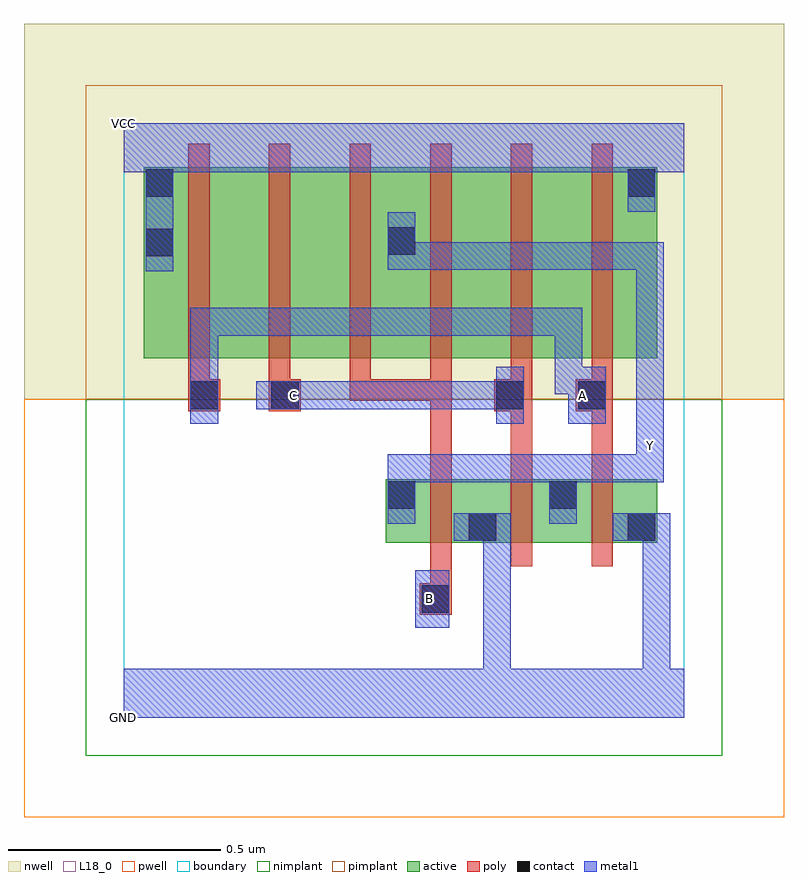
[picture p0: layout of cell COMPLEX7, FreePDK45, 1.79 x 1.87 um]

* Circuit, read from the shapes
.subckt COMPLEX7 A B C GND VCC Y
M1 GND B Y VSUBS nfet w=0.15u l=0.05u
M2 Y C GND VSUBS nfet w=0.15u l=0.05u
M3 GND A Y VSUBS nfet w=0.15u l=0.05u
M4 n1 A VCC n2 pfet w=0.45u l=0.05u
M5 n3 C n1 n2 pfet w=0.45u l=0.05u
M6 Y B n3 n2 pfet w=0.45u l=0.05u
M7 n4 B Y n2 pfet w=0.45u l=0.05u
M8 n5 C n4 n2 pfet w=0.45u l=0.05u
M9 VCC A n5 n2 pfet w=0.45u l=0.05u
.ends

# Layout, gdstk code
import gdstk
lib = gdstk.Library(unit=1e-6, precision=1e-09)
def R(c, l, rs):  # rectangles x0, y0, x1, y1
    for r in rs: c.add(gdstk.rectangle(r[:2], r[2:], *l))
def A(c, l, x, y, w, h, nx, ny, dx, dy):  # array of equal rectangles
    R(c, l, [(x+i*dx, y+j*dy, x+i*dx+w, y+j*dy+h) for i in range(nx) for j in range(ny)])
active = (1, 0)
pwell = (2, 0)
nwell = (3, 0)
nimplant = (4, 0)
pimplant = (5, 0)
poly = (9, 0)
contact = (10, 0)
metal1 = (11, 0)
L18_0 = (18, 0)
boundary = (235, 0)

complex7 = lib.new_cell('COMPLEX7')
R(complex7, active, [(0.617,0.412,0.692,0.562), (0.617,0.412,0.882,0.562), (0.807,0.412,1.072,0.562), (0.807,0.412,0.882,0.487), (0.997,0.412,1.072,0.562), (0.997,0.412,1.257,0.562), (1.182,0.412,1.257,0.562), (0.047,0.847,0.122,1.297), (0.047,0.847,0.272,1.297), (0.272,0.847,0.462,1.297), (0.462,0.847,0.692,1.297), (0.617,0.847,0.842,1.297), (0.617,0.847,0.692,1.2), (0.842,0.847,1.032,1.297), (1.032,0.847,1.257,1.297), (1.182,0.847,1.257,1.297)])
R(complex7, pwell, [(-0.235,-0.235,1.555,0.75)])
R(complex7, nwell, [(-0.235,0.75,1.555,1.635)])
R(complex7, nimplant, [(-0.09,-0.09,1.41,0.75)])
R(complex7, pimplant, [(-0.09,0.75,1.41,1.49)])
A(complex7, poly, 0.722, 0.357, 0.05, 0.26, 3, 1, 0.19, 0)
A(complex7, poly, 0.152, 0.747, 0.05, 0.095, 6, 1, 0.19, 0)
A(complex7, poly, 0.152, 0.792, 0.05, 0.56, 6, 1, 0.19, 0)
R(complex7, poly, [(0.697,0.242,0.772,0.317), (0.722,0.267,0.772,0.407), (0.722,0.567,0.772,0.797), (0.912,0.567,0.962,0.772), (1.102,0.567,1.152,0.772), (0.152,0.722,0.227,0.797), (0.342,0.722,0.417,0.797), (0.872,0.722,0.962,0.797), (1.065,0.722,1.152,0.797), (0.532,0.747,0.772,0.797), (0.532,0.747,0.582,0.797), (0.532,0.747,0.582,0.797), (0.532,0.747,0.582,0.797), (0.722,0.747,0.772,0.797)])
R(complex7, contact, [(0.702,0.247,0.767,0.312), (0.812,0.417,0.877,0.482), (1.187,0.417,1.252,0.482), (0.622,0.492,0.687,0.557), (1.002,0.492,1.067,0.557), (0.157,0.727,0.222,0.792), (0.347,0.727,0.412,0.792), (0.877,0.727,0.942,0.792), (1.07,0.727,1.135,0.792), (0.052,1.087,0.117,1.152), (0.622,1.09,0.687,1.155), (0.052,1.227,0.117,1.292), (1.187,1.227,1.252,1.292)])
R(complex7, metal1, [(0,0,1.32,0.115), (0.847,0.05,0.912,0.115), (0.847,0.05,0.912,0.115), (0.847,0.05,0.912,0.115), (0.847,0.05,0.912,0.115), (0.847,0.05,0.912,0.482), (1.222,0.05,1.287,0.115), (1.222,0.05,1.287,0.115), (1.222,0.05,1.287,0.482), (0.687,0.212,0.767,0.347), (0.777,0.417,0.912,0.482), (0.847,0.417,0.912,0.482), (0.847,0.417,0.912,0.482), (1.152,0.417,1.287,0.482), (1.222,0.417,1.287,0.482), (1.222,0.417,1.287,0.482), (1.222,0.417,1.287,0.482), (1.222,0.417,1.287,0.482), (0.622,0.457,0.687,0.62), (1.002,0.457,1.067,0.62), (0.622,0.555,0.742,0.62), (0.677,0.555,0.742,0.62), (0.677,0.555,0.93,0.62), (0.865,0.555,0.93,0.62), (0.865,0.555,0.93,0.62), (0.865,0.555,0.93,0.62), (0.865,0.555,1.067,0.62), (1.002,0.555,1.272,0.62), (1.207,0.555,1.272,0.62), (1.207,0.555,1.272,0.62), (1.207,0.555,1.272,0.62), (1.207,0.555,1.272,0.62), (1.207,0.555,1.272,0.707), (1.207,0.642,1.272,1.12), (0.157,0.692,0.222,0.827), (0.877,0.692,0.942,0.827), (1.047,0.692,1.135,0.827), (0.312,0.727,0.467,0.792), (0.402,0.727,0.467,0.792), (0.402,0.727,0.467,0.792), (0.402,0.727,0.605,0.792), (0.54,0.727,0.605,0.792), (0.54,0.727,0.605,0.792), (0.54,0.727,0.605,0.792), (0.54,0.727,0.742,0.792), (0.677,0.727,0.742,0.792), (0.677,0.727,0.93,0.792), (0.865,0.727,0.93,0.792), (0.865,0.727,0.942,0.792), (0.157,0.762,0.222,0.827), (0.157,0.762,0.222,0.827), (0.157,0.762,0.222,0.965), (1.015,0.762,1.08,0.827), (1.015,0.762,1.112,0.827), (1.015,0.762,1.08,0.965), (0.157,0.9,0.222,0.965), (0.157,0.9,0.467,0.965), (0.402,0.9,0.467,0.965), (0.402,0.9,0.467,0.965), (0.402,0.9,0.467,0.965), (0.402,0.9,0.605,0.965), (0.54,0.9,0.605,0.965), (0.54,0.9,0.605,0.965), (0.54,0.9,0.605,0.965), (0.54,0.9,0.742,0.965), (0.677,0.9,0.742,0.965), (0.677,0.9,0.93,0.965), (0.865,0.9,0.93,0.965), (0.865,0.9,0.93,0.965), (0.865,0.9,0.93,0.965), (0.865,0.9,1.08,0.965), (1.015,0.9,1.08,0.965), (0.052,1.052,0.117,1.327), (0.622,1.055,0.687,1.19), (0.622,1.055,0.792,1.12), (0.727,1.055,0.792,1.12), (0.727,1.055,0.88,1.12), (0.815,1.055,0.88,1.12), (0.815,1.055,0.942,1.12), (0.877,1.055,0.942,1.12), (0.877,1.055,1.08,1.12), (1.015,1.055,1.08,1.12), (1.015,1.055,1.08,1.12), (1.015,1.055,1.08,1.12), (1.015,1.055,1.272,1.12), (1.207,1.055,1.272,1.12), (1.207,1.055,1.272,1.12), (1.207,1.055,1.272,1.12), (1.187,1.192,1.252,1.327), (0.052,1.262,0.117,1.35), (1.187,1.262,1.252,1.35), (0,1.285,1.32,1.4)])
R(complex7, L18_0, [(0,0,1.32,0.115), (0.847,0.05,0.912,0.115), (0.847,0.05,0.912,0.115), (0.847,0.05,0.912,0.115), (0.847,0.05,0.912,0.115), (0.847,0.05,0.912,0.482), (1.222,0.05,1.287,0.115), (1.222,0.05,1.287,0.115), (1.222,0.05,1.287,0.482), (0.687,0.212,0.767,0.347), (0.687,0.247,0.752,0.312), (0.777,0.417,0.912,0.482), (0.847,0.417,0.912,0.482), (0.847,0.417,0.912,0.482), (1.152,0.417,1.287,0.482), (1.222,0.417,1.287,0.482), (1.222,0.417,1.287,0.482), (1.222,0.417,1.287,0.482), (1.222,0.417,1.287,0.482), (0.622,0.457,0.687,0.62), (1.002,0.457,1.067,0.62), (0.622,0.555,0.742,0.62), (0.677,0.555,0.742,0.62), (0.677,0.555,0.93,0.62), (0.865,0.555,0.93,0.62), (0.865,0.555,0.93,0.62), (0.865,0.555,0.93,0.62), (0.865,0.555,1.067,0.62), (1.002,0.555,1.272,0.62), (1.207,0.555,1.272,0.62), (1.207,0.555,1.272,0.62), (1.207,0.555,1.272,0.62), (1.207,0.555,1.272,0.62), (1.207,0.555,1.272,0.707), (1.207,0.607,1.272,0.672), (1.207,0.642,1.272,1.12), (0.157,0.692,0.222,0.827), (0.877,0.692,0.942,0.827), (1.047,0.692,1.135,0.827), (0.312,0.727,0.467,0.792), (0.367,0.727,0.432,0.792), (0.402,0.727,0.467,0.792), (0.402,0.727,0.467,0.792), (0.402,0.727,0.605,0.792), (0.54,0.727,0.605,0.792), (0.54,0.727,0.605,0.792), (0.54,0.727,0.605,0.792), (0.54,0.727,0.742,0.792), (0.677,0.727,0.742,0.792), (0.677,0.727,0.93,0.792), (0.865,0.727,0.93,0.792), (0.865,0.727,0.942,0.792), (1.047,0.727,1.112,0.792), (0.157,0.762,0.222,0.827), (0.157,0.762,0.222,0.827), (0.157,0.762,0.222,0.965), (1.015,0.762,1.08,0.827), (1.015,0.762,1.08,0.965), (1.015,0.762,1.112,0.827), (0.157,0.9,0.222,0.965), (0.157,0.9,0.467,0.965), (0.402,0.9,0.467,0.965), (0.402,0.9,0.467,0.965), (0.402,0.9,0.467,0.965), (0.402,0.9,0.605,0.965), (0.54,0.9,0.605,0.965), (0.54,0.9,0.605,0.965), (0.54,0.9,0.605,0.965), (0.54,0.9,0.742,0.965), (0.677,0.9,0.742,0.965), (0.677,0.9,0.93,0.965), (0.865,0.9,0.93,0.965), (0.865,0.9,0.93,0.965), (0.865,0.9,0.93,0.965), (0.865,0.9,1.08,0.965), (1.015,0.9,1.08,0.965), (0.052,1.052,0.117,1.327), (0.622,1.055,0.687,1.19), (0.622,1.055,0.792,1.12), (0.727,1.055,0.792,1.12), (0.727,1.055,0.88,1.12), (0.815,1.055,0.88,1.12), (0.815,1.055,0.942,1.12), (0.877,1.055,0.942,1.12), (0.877,1.055,1.08,1.12), (1.015,1.055,1.08,1.12), (1.015,1.055,1.08,1.12), (1.015,1.055,1.08,1.12), (1.015,1.055,1.272,1.12), (1.207,1.055,1.272,1.12), (1.207,1.055,1.272,1.12), (1.207,1.055,1.272,1.12), (1.187,1.192,1.252,1.327), (0.052,1.262,0.117,1.35), (1.187,1.262,1.252,1.35), (0,1.285,1.32,1.4)])
R(complex7, boundary, [(0,0,1.32,1.4)])
complex7.add(gdstk.Label('A', (1.08,0.76), layer=11, texttype=0))
complex7.add(gdstk.Label('B', (0.72,0.28), layer=11, texttype=0))
complex7.add(gdstk.Label('C', (0.4,0.76), layer=11, texttype=0))
complex7.add(gdstk.Label('Y', (1.24,0.64), layer=11, texttype=0))
complex7.add(gdstk.Label('VCC', (0,1.4), layer=11, texttype=0))
complex7.add(gdstk.Label('GND', (0,0), layer=11, texttype=0))

lib.write_gds('COMPLEX7.gds')
